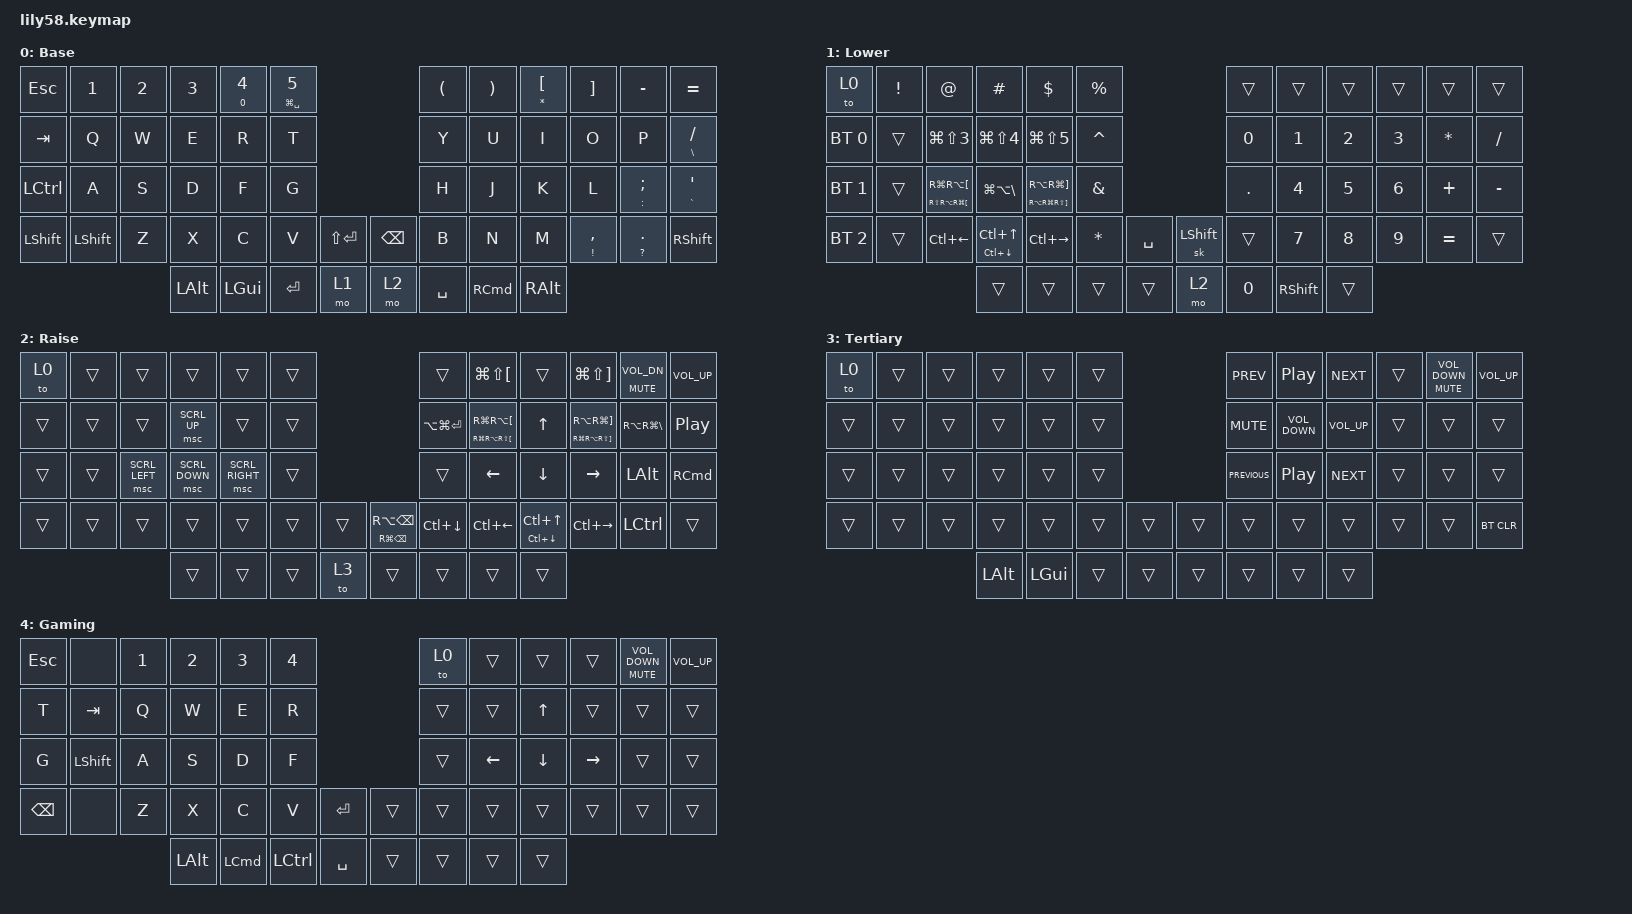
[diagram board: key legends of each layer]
/*
 * Copyright (c) 2020 The ZMK Contributors
 *
 * SPDX-License-Identifier: MIT
 */

#include <behaviors.dtsi>
#include <dt-bindings/zmk/bt.h>
#include <dt-bindings/zmk/keys.h>
#include <dt-bindings/zmk/pointing.h>

// Increase scroll speed (default: 10)

#define ZMK_POINTING_DEFAULT_SCRL_VAL 25

&mt { flavor = "tap-preferred"; };

/ {
    behaviors {
        // Snappy scroll: quick ramp-up with linear acceleration

        msc {
            time-to-max-speed-ms = <100>;
            acceleration-exponent = <1>;
        };

        hold_tap_test: hold_tap_test {
            compatible = "zmk,behavior-hold-tap";
            label = "HOLD_TAP_TEST";
            bindings = <&kp>, <&kp>;

            #binding-cells = <2>;
            tapping-term-ms = <1000>;
        };

        long_hold_tap: long_hold_tap {
            compatible = "zmk,behavior-hold-tap";
            label = "LONG_HOLD_TAP";
            bindings = <&kp>, <&kp>;

            #binding-cells = <2>;
            tapping-term-ms = <3000>;
            flavor = "tap-preferred";
        };
    };

    combos {
        compatible = "zmk,combos";

        Return {
            bindings = <&kp RETURN>;
            key-positions = <34 35>;
            layers = <0>;
        };

        Toggle_Lower {
            bindings = <&tog 1>;
            key-positions = <6 7>;
        };

        Backspace_2 {
            bindings = <&kp BACKSPACE>;
            key-positions = <34 33>;
            layers = <0 2 3 1>;
        };

        Num-6 {
            bindings = <&kp NUMBER_6>;
            key-positions = <1 2>;
            layers = <0>;
        };

        Num-7 {
            bindings = <&kp NUMBER_7>;
            key-positions = <2 3>;
            layers = <0>;
        };

        Num-8 {
            bindings = <&kp NUMBER_8>;
            key-positions = <3 4>;
            layers = <0>;
        };

        Num-9 {
            bindings = <&kp NUMBER_9>;
            key-positions = <4 5>;
            layers = <0>;
        };

        Layer-Gaming {
            bindings = <&to 4>;
            key-positions = <1 4>;
            layers = <0>;
        };
    };

    keymap {
        compatible = "zmk,keymap";

        default_layer {
            // ------------------------------------------------------------------------------------------------------------
            // |  ESC  |  1  |  2  |  3   |  4   |  5   |                   |  6   |  7    |  8    |  9   |   0   |   `   |
            // |  TAB  |  Q  |  W  |  E   |  R   |  T   |                   |  Y   |  U    |  I    |  O   |   P   |   -   |
            // |  CTRL |  A  |  S  |  D   |  F   |  G   |                   |  H   |  J    |  K    |  L   |   ;   |   '   |
            // | SHIFT |  Z  |  X  |  C   |  V   |  B   |   "["  |  |  "]"  |  N   |  M    |  ,    |  .   |   /   | SHIFT |
            //                     | ALT  | GUI  | LOWER|  SPACE |  | ENTER | RAISE| BSPC  | GUI   |

            display-name = "Base";
            bindings = <
&kp ESC         &kp NUMBER_1    &kp N2  &kp N3    &mt NUMBER_0 NUMBER_4  &mt LG(SPACE) N5                                   &kp LEFT_PARENTHESIS  &kp RIGHT_PARENTHESIS  &mt ASTERISK LEFT_BRACKET  &kp RIGHT_BRACKET      &kp MINUS            &kp EQUAL
&kp TAB         &kp Q           &kp W   &kp E     &kp R                  &kp T                                              &kp Y                 &kp U                  &kp I                      &kp O                  &kp P                &mt BACKSLASH FSLH
&kp LCTRL       &kp A           &kp S   &kp D     &kp F                  &kp G                                              &kp H                 &kp J                  &kp K                      &kp L                  &mt COLON SEMICOLON  &mt GRAVE APOSTROPHE
&kp LEFT_SHIFT  &kp LEFT_SHIFT  &kp Z   &kp X     &kp C                  &kp V             &kp LS(RETURN)    &kp BACKSPACE  &kp B                 &kp N                  &kp M                      &mt EXCLAMATION COMMA  &mt QUESTION PERIOD  &kp RSHFT
                                        &kp LALT  &kp LGUI               &kp ENTER         &mo 1             &mo 2          &kp SPACE             &kp RIGHT_COMMAND      &kp RIGHT_ALT
            >;
        };

        lower_layer {
            // ------------------------------------------------------------------------------------------------------------
            // | BTCLR | BT1 | BT2 |  BT3 |  BT4 |  BT5 |                   |      |       |       |      |       |       |
            // |  F1   |  F2 |  F3 |  F4  |  F5  |  F6  |                   |  F7  |  F8   |  F9   |  F10 |  F11  |  F12  |
            // |   `   |  !  |  @  |  #   |  $   |  %   |                   |  ^   |  &    |  *    |  (   |   )   |   ~   |
            // |       |     |     |      |      |      |        |  |       |      |  _    |  +    |  {   |   }   |  "|"  |
            //                     |      |      |      |        |  |       |      |       |       |

            display-name = "Lower";
            bindings = <
&to 0         &kp EXCLAMATION  &kp AT                                             &kp HASH                         &kp DOLLAR                                           &kp PERCENT                                 &trans        &trans           &trans        &trans        &trans        &trans
&bt BT_SEL 0  &trans           &kp LG(LS(NUMBER_3))                               &kp LG(LS(NUMBER_4))             &kp LG(LS(N5))                                       &kp CARET                                   &kp NUMBER_0  &kp NUMBER_1     &kp NUMBER_2  &kp NUMBER_3  &kp ASTERISK  &kp SLASH
&bt BT_SEL 1  &trans           &mt RS(RA(RG(LEFT_BRACKET))) RG(RA(LEFT_BRACKET))  &kp LG(LA(BACKSLASH))            &mt RA(RG(RS(RIGHT_BRACKET))) RA(RG(RIGHT_BRACKET))  &kp AMPERSAND                               &kp PERIOD    &kp NUMBER_4     &kp N5        &kp NUMBER_6  &kp PLUS      &kp MINUS
&bt BT_SEL 2  &trans           &kp LC(LEFT)                                       &mt LC(DOWN_ARROW) LC(UP_ARROW)  &kp LC(RIGHT_ARROW)                                  &kp ASTERISK   &kp SPACE    &sk LEFT_SHIFT  &trans        &kp N7           &kp N8        &kp N9        &kp EQUAL     &trans
                                                                                  &trans                           &trans                                               &trans         &trans       &mo 2           &kp NUMBER_0  &kp RIGHT_SHIFT  &trans
            >;
        };

        raise_layer {
            // ------------------------------------------------------------------------------------------------------------
            // |       |     |     |      |      |      |                   |      |       |       |      |       |       |
            // |   `   |  1  |  2  |  3   |  4   |  5   |                   |  6   |   7   |   8   |  9   |   0   |       |
            // |   F1  |  F2 |  F3 |  F4  |  F5  |  F6  |                   |      |   <-  |   v   |  ^   |  ->   |       |
            // |   F7  |  F8 |  F9 |  F10 |  F11 |  F12 |        |  |       |  +   |   -   |   =   |  [   |   ]   |   \   |
            //                     |      |      |      |        |  |       |      |       |       |

            display-name = "Raise";
            bindings = <
&to 0   &trans  &trans          &trans          &trans           &trans                                             &trans              &kp LG(LS(LEFT_BRACKET))                           &trans                     &kp LG(LS(RIGHT_BRACKET))                            &mt K_MUTE C_VOL_DN    &kp C_VOLUME_UP
&trans  &trans  &trans          &msc SCRL_UP    &trans           &trans                                             &kp LA(LG(RETURN))  &mt RG(RA(RS(LEFT_BRACKET))) RG(RA(LEFT_BRACKET))  &kp UP_ARROW               &mt RG(RA(RS(RIGHT_BRACKET))) RA(RG(RIGHT_BRACKET))  &kp RA(RG(BACKSLASH))  &kp C_PLAY_PAUSE
&trans  &trans  &msc SCRL_LEFT  &msc SCRL_DOWN  &msc SCRL_RIGHT  &trans                                             &trans              &kp LEFT                                           &kp DOWN                   &kp RIGHT                                            &kp LEFT_ALT           &kp RIGHT_COMMAND
&trans  &trans  &trans          &trans          &trans           &trans  &trans    &mt RG(BACKSPACE) RA(BACKSPACE)  &kp LC(DOWN_ARROW)  &kp LC(LEFT_ARROW)                                 &mt LC(DOWN) LC(UP_ARROW)  &kp LC(RIGHT)                                        &kp LEFT_CONTROL       &trans
                                &trans          &trans           &trans  &to 3     &trans                           &trans              &trans                                             &trans
            >;
        };

        tertiary {
            bindings = <
&to 0   &trans  &trans  &trans        &trans        &trans                    &kp C_PREV      &kp C_PLAY_PAUSE   &kp C_NEXT       &trans  &mt K_MUTE C_VOLUME_DOWN  &kp C_VOLUME_UP
&trans  &trans  &trans  &trans        &trans        &trans                    &kp C_MUTE      &kp C_VOLUME_DOWN  &kp C_VOLUME_UP  &trans  &trans                    &trans
&trans  &trans  &trans  &trans        &trans        &trans                    &kp C_PREVIOUS  &kp C_PLAY_PAUSE   &kp C_NEXT       &trans  &trans                    &trans
&trans  &trans  &trans  &trans        &trans        &trans  &trans    &trans  &trans          &trans             &trans           &trans  &trans                    &bt BT_CLR
                        &kp LEFT_ALT  &kp LEFT_GUI  &trans  &trans    &trans  &trans          &trans             &trans
            >;

            label = "Tertiary";
        };

        Gaming {
            bindings = <
&kp ESCAPE     &none           &kp NUMBER_1  &kp NUMBER_2  &kp NUMBER_3      &kp NUMBER_4                        &to 0   &trans    &trans          &trans           &mt C_MUTE C_VOLUME_DOWN  &kp C_VOLUME_UP
&kp T          &kp TAB         &kp Q         &kp W         &kp E             &kp R                               &trans  &trans    &kp UP_ARROW    &trans           &trans                    &trans
&kp G          &kp LEFT_SHIFT  &kp A         &kp S         &kp D             &kp F                               &trans  &kp LEFT  &kp DOWN_ARROW  &kp RIGHT_ARROW  &trans                    &trans
&kp BACKSPACE  &none           &kp Z         &kp X         &kp C             &kp V         &kp RETURN    &trans  &trans  &trans    &trans          &trans           &trans                    &trans
                                             &kp LEFT_ALT  &kp LEFT_COMMAND  &kp LCTRL     &kp SPACE     &trans  &trans  &trans    &trans
            >;

            label = "Gaming";
        };
    };
};
